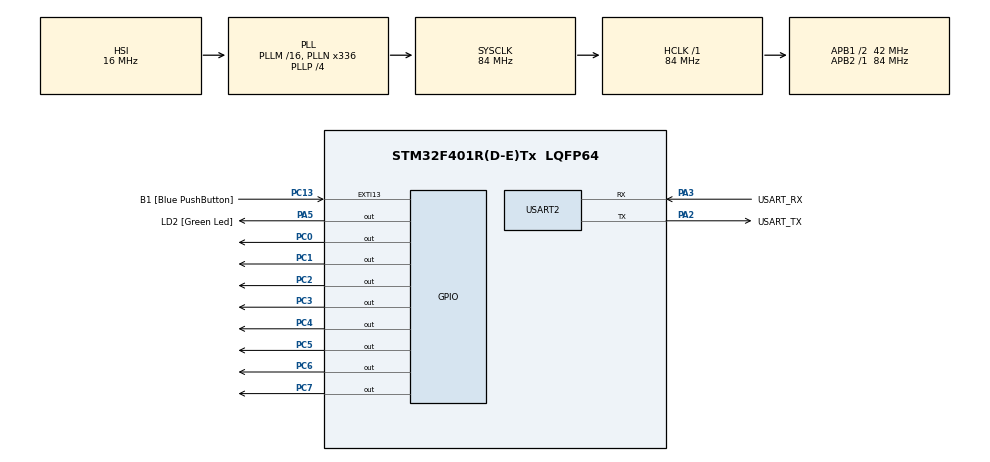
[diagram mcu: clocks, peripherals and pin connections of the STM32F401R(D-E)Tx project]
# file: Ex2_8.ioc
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Mcu.Family=STM32F4
Mcu.Name=STM32F401R(D-E)Tx
Mcu.Package=LQFP64
NVIC.EXTI15_10_IRQn=true\:0\:0\:false\:false\:true\:true\:true\:true
NVIC.PriorityGroup=NVIC_PRIORITYGROUP_0
PA13.GPIO_Label=TMS
PA13.Mode=Serial_Wire
PA13.Signal=SYS_JTMS-SWDIO
PA14.GPIO_Label=TCK
PA14.Mode=Serial_Wire
PA14.Signal=SYS_JTCK-SWCLK
PA2.GPIO_Label=USART_TX
PA2.GPIO_Mode=GPIO_MODE_AF_PP
PA2.GPIO_PuPd=GPIO_NOPULL
PA2.GPIO_Speed=GPIO_SPEED_FREQ_LOW
PA2.Mode=Asynchronous
PA2.Signal=USART2_TX
PA3.GPIO_Label=USART_RX
PA3.GPIO_Mode=GPIO_MODE_AF_PP
PA3.GPIO_PuPd=GPIO_NOPULL
PA3.GPIO_Speed=GPIO_SPEED_FREQ_LOW
PA3.Mode=Asynchronous
PA3.Signal=USART2_RX
PA5.GPIO_Label=LD2 [Green Led]
PA5.GPIO_Mode=GPIO_MODE_OUTPUT_PP
PA5.GPIO_PuPd=GPIO_NOPULL
PA5.GPIO_Speed=GPIO_SPEED_FREQ_LOW
PA5.Signal=GPIO_Output
PB3.GPIO_Label=SWO
PB3.Signal=SYS_JTDO-SWO
PC0.Signal=GPIO_Output
PC1.Signal=GPIO_Output
PC13-ANTI_TAMP.GPIO_Label=B1 [Blue PushButton]
PC13-ANTI_TAMP.GPIO_ModeDefaultEXTI=GPIO_MODE_IT_FALLING
PC13-ANTI_TAMP.GPIO_PuPd=GPIO_NOPULL
PC13-ANTI_TAMP.Signal=GPXTI13
PC14-OSC32_IN.Mode=LSE-External-Oscillator
PC14-OSC32_IN.Signal=RCC_OSC32_IN
PC15-OSC32_OUT.Mode=LSE-External-Oscillator
PC15-OSC32_OUT.Signal=RCC_OSC32_OUT
PC2.Signal=GPIO_Output
PC3.Signal=GPIO_Output
PC4.Signal=GPIO_Output
PC5.Signal=GPIO_Output
PC6.Signal=GPIO_Output
PC7.Signal=GPIO_Output
PH0\ -\ OSC_IN.Mode=HSE-External-Clock-Source
PH0\ -\ OSC_IN.Signal=RCC_OSC_IN
PH1\ -\ OSC_OUT.Mode=HSE-External-Clock-Source
PH1\ -\ OSC_OUT.Signal=RCC_OSC_OUT
ProjectManager.HeapSize=0x200
ProjectManager.StackSize=0x400
ProjectManager.TargetToolchain=STM32CubeIDE
RCC.48MHZClocksFreq_Value=48000000
RCC.AHBFreq_Value=84000000
RCC.APB1CLKDivider=RCC_HCLK_DIV2
RCC.APB1Freq_Value=42000000
RCC.APB1TimFreq_Value=84000000
RCC.APB2Freq_Value=84000000
RCC.APB2TimFreq_Value=84000000
RCC.CortexFreq_Value=84000000
RCC.HCLKFreq_Value=84000000
RCC.HSE_VALUE=8000000
RCC.HSI_VALUE=16000000
RCC.PLLN=336
RCC.PLLP=RCC_PLLP_DIV4
RCC.PLLQ=7
RCC.SYSCLKFreq_VALUE=84000000
RCC.SYSCLKSource=RCC_SYSCLKSOURCE_PLLCLK
RCC.VCOOutputFreq_Value=336000000
USART2.VirtualMode=VM_ASYNC
board=NUCLEO-F401RE

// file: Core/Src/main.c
/* USER CODE BEGIN Header */
/**
  ******************************************************************************
  * @file           : main.c
  * @brief          : Main program body
  ******************************************************************************
  * @attention
  *
  * Copyright (c) 2023 STMicroelectronics.
  * All rights reserved.
  *
  * This software is licensed under terms that can be found in the LICENSE file
  * in the root directory of this software component.
  * If no LICENSE file comes with this software, it is provided AS-IS.
  *
  ******************************************************************************
  */
/* USER CODE END Header */
#include "main.h"

UART_HandleTypeDef huart2;

/* USER CODE BEGIN PV */
uint32_t sec[10] = {
		0x003f00c0,  // 0
		0x000600f9,  // 1
		0x005b00a4,  // 2
		0x004f00b0,  // 3
		0x00660099,  // 4
		0x006d0092,  // 5
		0x007d0082,  // 6
		0x002700d8,  // 7
		0x007f0080,  // 8
		0x006f0090   // 9
};

int16_t count = 0;
/* USER CODE END PV */

void SystemClock_Config(void);
static void MX_GPIO_Init(void);
static void MX_USART2_UART_Init(void);

int main(void)
{

  /* MCU Configuration--------------------------------------------------------*/

  /* Reset of all peripherals, Initializes the Flash interface and the Systick. */
  HAL_Init();

  /* Configure the system clock */
  SystemClock_Config();

  /* Initialize all configured peripherals */
  MX_GPIO_Init();
  MX_USART2_UART_Init();
  /* USER CODE BEGIN 2 */
  GPIOC->BSRR = sec[count];
  /* USER CODE END 2 */

  /* Infinite loop */
  while (1)
  {

  }
}

void SystemClock_Config(void)
{
  RCC_OscInitTypeDef RCC_OscInitStruct = {0};
  RCC_ClkInitTypeDef RCC_ClkInitStruct = {0};

  /** Configure the main internal regulator output voltage
  */
  __HAL_RCC_PWR_CLK_ENABLE();
  __HAL_PWR_VOLTAGESCALING_CONFIG(PWR_REGULATOR_VOLTAGE_SCALE2);

  /** Initializes the RCC Oscillators according to the specified parameters
  * in the RCC_OscInitTypeDef structure.
  */
  RCC_OscInitStruct.OscillatorType = RCC_OSCILLATORTYPE_HSI;
  RCC_OscInitStruct.HSIState = RCC_HSI_ON;
  RCC_OscInitStruct.HSICalibrationValue = RCC_HSICALIBRATION_DEFAULT;
  RCC_OscInitStruct.PLL.PLLState = RCC_PLL_ON;
  RCC_OscInitStruct.PLL.PLLSource = RCC_PLLSOURCE_HSI;
  RCC_OscInitStruct.PLL.PLLM = 16;
  RCC_OscInitStruct.PLL.PLLN = 336;
  RCC_OscInitStruct.PLL.PLLP = RCC_PLLP_DIV4;
  RCC_OscInitStruct.PLL.PLLQ = 7;
  if (HAL_RCC_OscConfig(&RCC_OscInitStruct) != HAL_OK)
  {
    Error_Handler();
  }

  /** Initializes the CPU, AHB and APB buses clocks
  */
  RCC_ClkInitStruct.ClockType = RCC_CLOCKTYPE_HCLK|RCC_CLOCKTYPE_SYSCLK
                              |RCC_CLOCKTYPE_PCLK1|RCC_CLOCKTYPE_PCLK2;
  RCC_ClkInitStruct.SYSCLKSource = RCC_SYSCLKSOURCE_PLLCLK;
  RCC_ClkInitStruct.AHBCLKDivider = RCC_SYSCLK_DIV1;
  RCC_ClkInitStruct.APB1CLKDivider = RCC_HCLK_DIV2;
  RCC_ClkInitStruct.APB2CLKDivider = RCC_HCLK_DIV1;

  if (HAL_RCC_ClockConfig(&RCC_ClkInitStruct, FLASH_LATENCY_2) != HAL_OK)
  {
    Error_Handler();
  }
}

static void MX_USART2_UART_Init(void)
{

  huart2.Instance = USART2;
  huart2.Init.BaudRate = 115200;
  huart2.Init.WordLength = UART_WORDLENGTH_8B;
  huart2.Init.StopBits = UART_STOPBITS_1;
  huart2.Init.Parity = UART_PARITY_NONE;
  huart2.Init.Mode = UART_MODE_TX_RX;
  huart2.Init.HwFlowCtl = UART_HWCONTROL_NONE;
  huart2.Init.OverSampling = UART_OVERSAMPLING_16;
  if (HAL_UART_Init(&huart2) != HAL_OK)
  {
    Error_Handler();
  }

}

static void MX_GPIO_Init(void)
{
  GPIO_InitTypeDef GPIO_InitStruct = {0};

  /* GPIO Ports Clock Enable */
  __HAL_RCC_GPIOC_CLK_ENABLE();
  __HAL_RCC_GPIOH_CLK_ENABLE();
  __HAL_RCC_GPIOA_CLK_ENABLE();
  __HAL_RCC_GPIOB_CLK_ENABLE();

  /*Configure GPIO pin Output Level */
  HAL_GPIO_WritePin(GPIOC, GPIO_PIN_0|GPIO_PIN_1|GPIO_PIN_2|GPIO_PIN_3
                          |GPIO_PIN_4|GPIO_PIN_5|GPIO_PIN_6|GPIO_PIN_7, GPIO_PIN_RESET);

  /*Configure GPIO pin Output Level */
  HAL_GPIO_WritePin(LD2_GPIO_Port, LD2_Pin, GPIO_PIN_RESET);

  /*Configure GPIO pin : B1_Pin */
  GPIO_InitStruct.Pin = B1_Pin;
  GPIO_InitStruct.Mode = GPIO_MODE_IT_FALLING;
  GPIO_InitStruct.Pull = GPIO_NOPULL;
  HAL_GPIO_Init(B1_GPIO_Port, &GPIO_InitStruct);

  /*Configure GPIO pins : PC0 PC1 PC2 PC3
                           PC4 PC5 PC6 PC7 */
  GPIO_InitStruct.Pin = GPIO_PIN_0|GPIO_PIN_1|GPIO_PIN_2|GPIO_PIN_3
                          |GPIO_PIN_4|GPIO_PIN_5|GPIO_PIN_6|GPIO_PIN_7;
  GPIO_InitStruct.Mode = GPIO_MODE_OUTPUT_PP;
  GPIO_InitStruct.Pull = GPIO_NOPULL;
  GPIO_InitStruct.Speed = GPIO_SPEED_FREQ_LOW;
  HAL_GPIO_Init(GPIOC, &GPIO_InitStruct);

  /*Configure GPIO pin : LD2_Pin */
  GPIO_InitStruct.Pin = LD2_Pin;
  GPIO_InitStruct.Mode = GPIO_MODE_OUTPUT_PP;
  GPIO_InitStruct.Pull = GPIO_NOPULL;
  GPIO_InitStruct.Speed = GPIO_SPEED_FREQ_LOW;
  HAL_GPIO_Init(LD2_GPIO_Port, &GPIO_InitStruct);

  /* EXTI interrupt init*/
  HAL_NVIC_SetPriority(EXTI15_10_IRQn, 0, 0);
  HAL_NVIC_EnableIRQ(EXTI15_10_IRQn);

}

/* USER CODE BEGIN 4 */
void HAL_GPIO_EXTI_Callback(uint16_t GPIO_Pin)
{
	GPIOC->BSRR = sec[++count % 10];
}
/* USER CODE END 4 */

void Error_Handler(void)
{
  __disable_irq();
  while (1)
  {
  }
}
